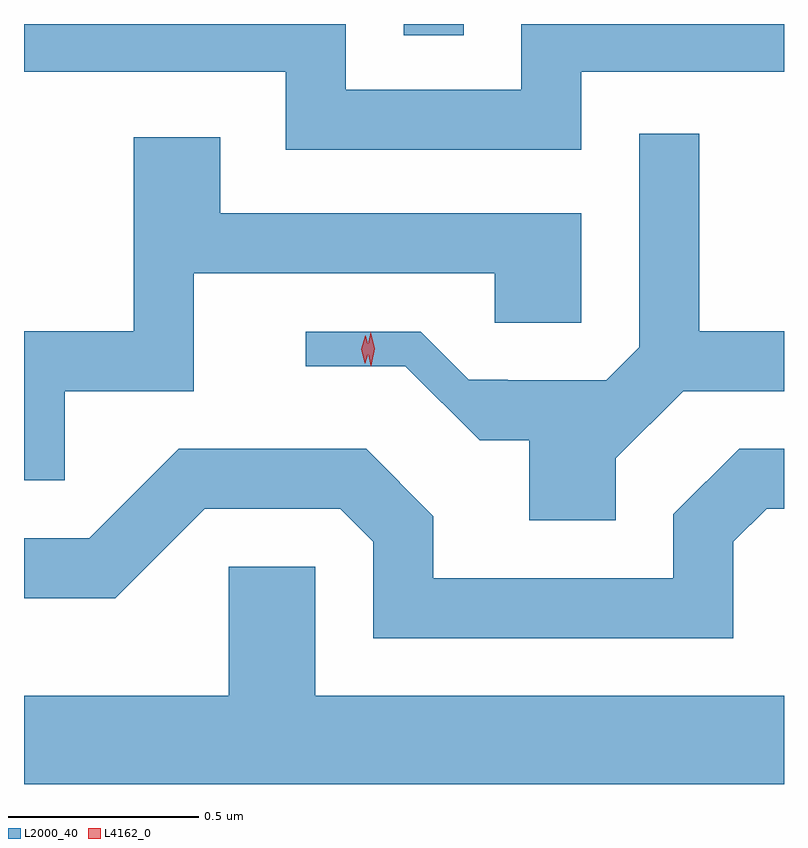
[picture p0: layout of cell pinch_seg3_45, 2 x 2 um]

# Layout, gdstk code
import gdstk
lib = gdstk.Library(unit=1e-6, precision=1e-09)
def R(c, l, rs):  # rectangles x0, y0, x1, y1
    for r in rs: c.add(gdstk.rectangle(r[:2], r[2:], *l))
def P(c, l, *ps):  # polygons
    for p in ps: c.add(gdstk.Polygon(p, *l))
L2000_40 = (2000, 40)
L4162_0 = (4162, 0)

pinch_seg3_45 = lib.new_cell('pinch_seg3_45')
R(pinch_seg3_45, L2000_40, [(1884.231,1165.763,1884.389,1165.792)])
P(pinch_seg3_45, L2000_40, [(1884.699,1165.666),(1885.232,1165.666),(1885.232,1165.792),(1884.541,1165.792),(1884.541,1165.619),(1884.079,1165.619),(1884.079,1165.792),(1883.232,1165.792),(1883.232,1165.666),(1883.921,1165.666),(1883.921,1165.461),(1884.699,1165.461)],
  [(1884.789,1164.649),(1884.967,1164.826),(1885.232,1164.826),(1885.232,1164.984),(1885.009,1164.984),(1885.009,1165.503),(1884.851,1165.503),(1884.851,1164.942),(1884.764,1164.854),(1884.505,1164.854),(1884.505,1164.856),(1884.402,1164.856),(1884.276,1164.982),(1883.973,1164.982),(1883.973,1164.892),(1884.235,1164.892),(1884.431,1164.696),(1884.561,1164.696),(1884.561,1164.486),(1884.789,1164.486)],
  [(1883.339,1164.826),(1883.679,1164.826),(1883.679,1165.136),(1884.471,1165.136),(1884.471,1165.006),(1884.699,1165.006),(1884.699,1165.294),(1883.749,1165.294),(1883.749,1165.494),(1883.521,1165.494),(1883.521,1164.984),(1883.232,1164.984),(1883.232,1164.591),(1883.339,1164.591)],
  [(1885.099,1164.429),(1885.187,1164.516),(1885.232,1164.516),(1885.232,1164.674),(1885.114,1164.674),(1884.941,1164.502),(1884.941,1164.334),(1884.309,1164.334),(1884.309,1164.497),(1884.132,1164.674),(1883.639,1164.674),(1883.404,1164.439),(1883.232,1164.439),(1883.232,1164.281),(1883.472,1164.281),(1883.707,1164.516),(1884.064,1164.516),(1884.151,1164.429),(1884.151,1164.176),(1885.099,1164.176)],
  [(1885.232,1164.024),(1883.999,1164.024),(1883.999,1164.364),(1883.771,1164.364),(1883.771,1164.024),(1883.232,1164.024),(1883.232,1163.792),(1885.232,1163.792)])
P(pinch_seg3_45, L4162_0, [(1884.146,1164.892),(1884.145,1164.893),(1884.135,1164.937),(1884.144,1164.981),(1884.145,1164.982),(1884.145,1164.981),(1884.155,1164.937),(1884.146,1164.893)],
  [(1884.129,1164.899),(1884.12,1164.936),(1884.13,1164.972),(1884.13,1164.972),(1884.131,1164.972),(1884.14,1164.935),(1884.13,1164.899),(1884.13,1164.899)])

lib.write_gds('pinch_seg3_45.gds')
